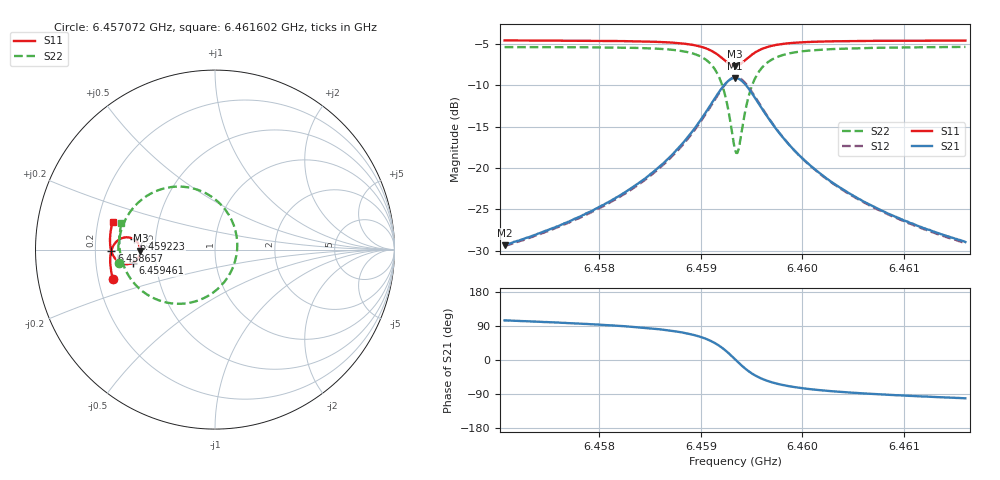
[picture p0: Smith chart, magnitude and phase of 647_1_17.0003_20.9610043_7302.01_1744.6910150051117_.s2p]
#  HZ  S  RI  R  50.00
! Rohde & Schwarz Vector Network Analyzer
! Rohde-Schwarz,ZNB20-2Port,1311601062101988,3.16
! Created: UTC 3/20/2024, 11:21:04 PM
! freq[Hz]  re:S11  im:S11  re:S21  im:S21  re:S12  im:S12  re:S22  im:S22
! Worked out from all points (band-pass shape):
!   401 points, 6.457072 GHz to 6.461602 GHz, reference 50 ohm
!   highest |S21| = -9.09 dB at 6.459337 GHz (marker M1); lowest = -29.3 dB at 6.457072 GHz (marker M2)
!   |S21| within 3 dB of the highest: 6.459111 GHz to 6.459564 GHz (453.4 kHz wide, 0.00702 % of centre)
!   lowest |S11| = -7.6 dB at 6.459337 GHz (marker M3), VSWR 2.42, Z = 20.7 - j0.324 ohm
!   |S11| at or under -10 dB: nowhere
!   |S22| runs from -18.2 to -5.3 dB; largest |S21 - S12| = 0.014
!   S11 on the Smith chart (normalised r, x): 6.457072 GHz: 0.26, -0.13; 6.458657 GHz: 0.27, -0.00; 6.459223 GHz: 0.38, +0.05; 6.459461 GHz: 0.37, -0.07; 6.461602 GHz: 0.26, +0.12
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6.4570717e9  -0.5688 -0.1648  -0.00856 0.0331  -0.00681 0.033  -0.5345 -0.0762
6.4578304e9  -0.5818 -0.0981  -0.00499 0.0513  -0.00243 0.0506  -0.5386 0.014
6.4582607e9  -0.5842 -0.0546  0.00154 0.0717  0.00481 0.0702  -0.5288 0.0835
6.4585892e9  -0.5798 -0.0148  0.0155 0.1002  0.0195 0.0974  -0.5027 0.1593
6.4586571e9  -0.5775 -0.00525  0.0209 0.1086  0.0251 0.1053  -0.4923 0.1795
6.4588496e9  -0.5644 0.025  0.0482 0.1398  0.0523 0.1346  -0.441 0.2488
6.4589968e9  -0.5412 0.0512  0.0944 0.1702  0.0974 0.1635  -0.3558 0.3131
6.4591327e9  -0.4968 0.0684  0.1827 0.1865  0.1836 0.1789  -0.1937 0.351
6.4592233e9  -0.4517 0.0577  0.2735 0.1543  0.2739 0.1484  -0.0251 0.2986
6.4592913e9  -0.4224 0.025  0.3347 0.0812  0.3369 0.0759  0.0917 0.1666
6.4593366e9  -0.4154 -0.00649  0.3511 0.012  0.3549 0.00519  0.124 0.0371
6.4593706e9  -0.4193 -0.0306  0.3451 -0.0412  0.3492 -0.0504  0.1119 -0.0642
6.4594159e9  -0.4353 -0.0571  0.3157 -0.102  0.3181 -0.1143  0.0525 -0.1796
6.4594611e9  -0.4578 -0.0737  0.2729 -0.1436  0.2722 -0.1572  -0.0346 -0.2558
6.4595517e9  -0.5019 -0.0807  0.1862 -0.1748  0.1799 -0.1867  -0.2075 -0.3019
6.4596197e9  -0.5265 -0.0733  0.137 -0.1725  0.1287 -0.1818  -0.3027 -0.2859
6.459699e9  -0.5464 -0.0601  0.0968 -0.1601  0.0881 -0.1664  -0.3782 -0.2504
6.4598575e9  -0.5682 -0.0322  0.0514 -0.1313  0.0435 -0.1341  -0.4596 -0.1762
6.4600953e9  -0.5808 0.00334  0.0218 -0.0989  0.016 -0.0997  -0.5077 -0.0923
6.4604577e9  -0.5853 0.0467  0.00527 -0.0703  0.0012 -0.0698  -0.5296 -0.00811
6.4608541e9  -0.5833 0.0866  -0.00184 -0.0526  -0.00479 -0.0517  -0.5329 0.0561
6.4616015e9  -0.5709 0.153  -0.00684 -0.035  -0.00857 -0.0341  -0.5213 0.1456
